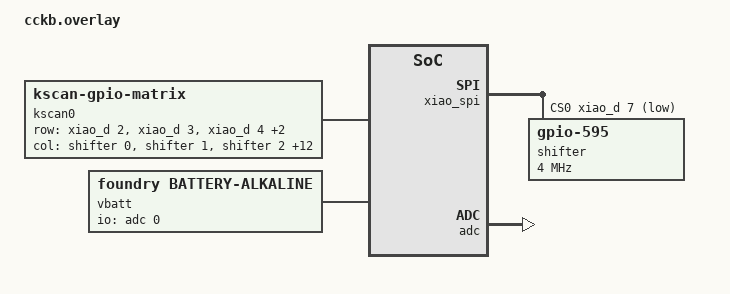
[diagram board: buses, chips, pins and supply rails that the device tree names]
/*
 * CCKB。一体型・62 キー・5 行 × 15 列（行列は cckb-transform.dtsi・生成物）。
 * 構成は HHKB 分割機の hhkb_split.dtsi と同じ（実機で確認済み）。
 *
 * ピン（XIAO nRF52840・D0..D10）。**計画 3 の配線で行の並びを変えてよい**
 * （行の並びはファームで吸収する。配線をひねらない）:
 *   D0        電池電圧（ADC は D0..D5 だけ）
 *   D2..D6    行 0..4（MCU 直結の入力。割り込みで起きられる）
 *   D7        595 の CS（ラッチ）
 *   D8 / D10  SPI SCK / MOSI（xiao_spi）。D9 は board の pinctrl が MISO に確保
 *   D1        予備
 * 列 15 本は 74LVC595 ×2 の数珠つなぎ（&shifter 0..14。15 は空き）。
 * 74HC595 は下限 2.0V で使えない（docs/knowledge/parts.md）。
 */

#include "cckb-transform.dtsi"

/ {
	chosen {
		zmk,kscan = &kscan0;
		zmk,battery = &vbatt;
	};

	kscan0: kscan_0 {
		compatible = "zmk,kscan-gpio-matrix";
		wakeup-source;
		diode-direction = "col2row";
		row-gpios
			= <&xiao_d 2 (GPIO_ACTIVE_HIGH | GPIO_PULL_DOWN)>
			, <&xiao_d 3 (GPIO_ACTIVE_HIGH | GPIO_PULL_DOWN)>
			, <&xiao_d 4 (GPIO_ACTIVE_HIGH | GPIO_PULL_DOWN)>
			, <&xiao_d 5 (GPIO_ACTIVE_HIGH | GPIO_PULL_DOWN)>
			, <&xiao_d 6 (GPIO_ACTIVE_HIGH | GPIO_PULL_DOWN)>
			;
		col-gpios
			= <&shifter 0 GPIO_ACTIVE_HIGH>, <&shifter 1 GPIO_ACTIVE_HIGH>
			, <&shifter 2 GPIO_ACTIVE_HIGH>, <&shifter 3 GPIO_ACTIVE_HIGH>
			, <&shifter 4 GPIO_ACTIVE_HIGH>, <&shifter 5 GPIO_ACTIVE_HIGH>
			, <&shifter 6 GPIO_ACTIVE_HIGH>, <&shifter 7 GPIO_ACTIVE_HIGH>
			, <&shifter 8 GPIO_ACTIVE_HIGH>, <&shifter 9 GPIO_ACTIVE_HIGH>
			, <&shifter 10 GPIO_ACTIVE_HIGH>, <&shifter 11 GPIO_ACTIVE_HIGH>
			, <&shifter 12 GPIO_ACTIVE_HIGH>, <&shifter 13 GPIO_ACTIVE_HIGH>
			, <&shifter 14 GPIO_ACTIVE_HIGH>
			;
	};

	/*
	 * 電池の残量（firmware/ の foundry,battery-alkaline。**化学に依らず**電圧の窓を
	 * % にする線形の写像で、Li/MnO2 でもそのまま使える）。分圧 1MΩ+1MΩ は
	 * 電源スイッチの後ろ・ショットキーの手前（docs/knowledge/power.md）。
	 * empty-millivolts は**打ち止め**。発注前の起動試験（projects/cckb/docs/
	 * task-10a-coin-cell-startup.md）の結果で決める。いまの 2400 は仮の値。
	 * full-millivolts 3200 は CR1632 の新品の開路電圧の上限（Energizer の図で 3.2V）。
	 */
	vbatt: vbatt {
		compatible = "foundry,battery-alkaline";
		io-channels = <&adc 0>;
		output-ohms = <1000000>;
		full-ohms = <2000000>;
		empty-millivolts = <2400>;
		full-millivolts = <3200>;
		/delete-property/ power-gpios;
	};
};

&xiao_spi {
	status = "okay";
	cs-gpios = <&xiao_d 7 GPIO_ACTIVE_LOW>;

	shifter: 595@0 {
		compatible = "zmk,gpio-595";
		status = "okay";
		gpio-controller;
		spi-max-frequency = <4000000>;
		reg = <0>;
		#gpio-cells = <2>;
		ngpios = <16>;
	};
};

&adc {
	status = "okay";
};
